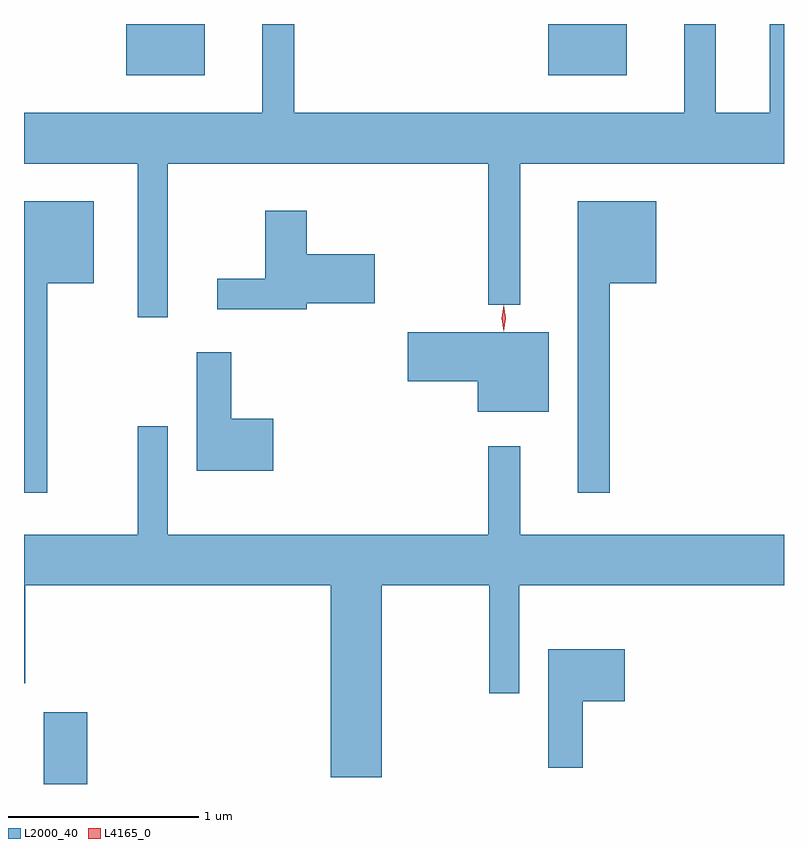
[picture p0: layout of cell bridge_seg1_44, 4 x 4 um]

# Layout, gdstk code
import gdstk
lib = gdstk.Library(unit=1e-6, precision=1e-09)
def R(c, l, rs):  # rectangles x0, y0, x1, y1
    for r in rs: c.add(gdstk.rectangle(r[:2], r[2:], *l))
def P(c, l, *ps):  # polygons
    for p in ps: c.add(gdstk.Polygon(p, *l))
L2000_40 = (2000, 40)
L4165_0 = (4165, 0)

bridge_seg1_44 = lib.new_cell('bridge_seg1_44')
R(bridge_seg1_44, L2000_40, [(1905.761,840.811,1905.989,841.189), (1906.196,844.541,1906.609,844.811), (1908.416,844.541,1908.829,844.811)])
P(bridge_seg1_44, L2000_40, [(1906.414,844.076),(1908.101,844.076),(1908.101,843.333),(1908.269,843.333),(1908.269,844.076),(1909.657,844.076),(1909.657,844.811),(1909.581,844.811),(1909.581,844.344),(1909.299,844.344),(1909.299,844.811),(1909.131,844.811),(1909.131,844.344),(1907.079,844.344),(1907.079,844.811),(1906.911,844.811),(1906.911,844.344),(1905.657,844.344),(1905.657,844.076),(1906.256,844.076),(1906.256,843.268),(1906.414,843.268)],
  [(1905.779,843.446),(1906.024,843.446),(1906.024,843.879),(1905.657,843.879),(1905.657,842.343),(1905.779,842.343)],
  [(1908.739,843.446),(1908.984,843.446),(1908.984,843.879),(1908.571,843.879),(1908.571,842.343),(1908.739,842.343)],
  [(1907.144,843.341),(1907.504,843.341),(1907.504,843.599),(1907.144,843.599),(1907.144,843.829),(1906.926,843.829),(1906.926,843.469),(1906.673,843.469),(1906.673,843.311),(1907.144,843.311)],
  [(1908.419,843.189),(1907.676,843.189),(1907.676,842.931),(1908.046,842.931),(1908.046,842.771),(1908.419,842.771)],
  [(1906.969,842.734),(1906.749,842.734),(1906.749,843.084),(1906.566,843.084),(1906.566,842.461),(1906.969,842.461)],
  [(1907.539,841.856),(1908.106,841.856),(1908.106,841.288),(1908.264,841.288),(1908.264,841.856),(1909.657,841.856),(1909.657,842.124),(1908.269,842.124),(1908.269,842.588),(1908.101,842.588),(1908.101,842.124),(1906.414,842.124),(1906.414,842.693),(1906.256,842.693),(1906.256,842.124),(1905.657,842.124),(1905.657,841.341),(1905.664,841.341),(1905.664,841.856),(1907.271,841.856),(1907.271,840.846),(1907.539,840.846)],
  [(1908.599,841.246),(1908.819,841.246),(1908.819,841.519),(1908.416,841.519),(1908.416,840.896),(1908.599,840.896)])
P(bridge_seg1_44, L4165_0, [(1908.181,843.194),(1908.172,843.262),(1908.181,843.33),(1908.182,843.33),(1908.182,843.33),(1908.192,843.262),(1908.182,843.194),(1908.182,843.194)],
  [(1908.182,843.2),(1908.181,843.201),(1908.172,843.263),(1908.181,843.326),(1908.182,843.327),(1908.182,843.326),(1908.192,843.263),(1908.182,843.201)])

lib.write_gds('bridge_seg1_44.gds')
